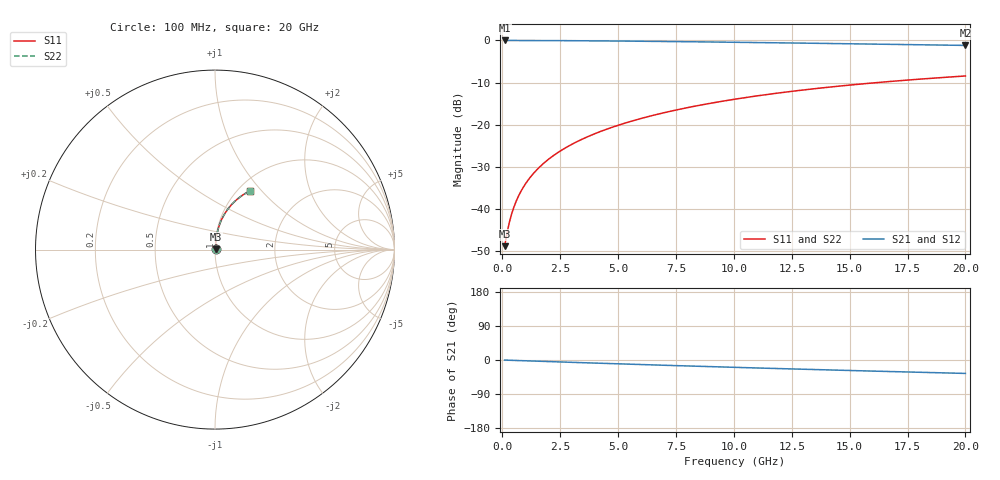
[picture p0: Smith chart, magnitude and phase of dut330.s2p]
! Touchstone file exported from HFSS 2024.1.0
!  File:  C:/UserFiles/LocalFiles/RDL_TSV_Batchsim/temp_RDL_bottom_330_1779611437.aedt
!  Generated:  04:33:16 PM May 24, 2026
!  Design:  RDL_bottom
!  Project:  temp_RDL_bottom_330_1779611437
!  Setup:  Setup1
!  Solution:  Sweep
! Variables:
!  dtsv = 10.80580581um
!  hbump = 3um
!  htsv = 93.72um
!  ldown = 442.29um
!  lrdl = 100um
!  p = 40
!  p1 = 54.79um
!  rhole = 1um
!  t = 450um
!  tdown = 2.96um
!  trdl = 3.915915916um
!  wdown = 18.99um
!  wrdl = 20um
# GHz S MA R 50.000000
! Terminal data exported
! Port[1] = RDL1_T1
! Port[2] = RDL1_T2
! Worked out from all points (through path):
!   200 points, 100 MHz to 20 GHz, reference 50 ohm
!   highest |S21| = -0.03 dB at 100 MHz (marker M1); lowest = -1.2 dB at 20 GHz (marker M2)
!   group delay of S21, straight-line fit = 4.9 ps
!   lowest |S11| = -48.8 dB at 100 MHz (marker M3), VSWR 1.01, Z = 50.3 + j0.208 ohm
!   |S11| at or under -10 dB: start of sweep to 16.2 GHz
!   |S22| runs from -48.8 to -8.4 dB; largest |S21 - S12| = 2.6e-15
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0.1  0.003638 34.6  0.997 -0.2  0.997 -0.2  0.003638 34.6
! Gamma 0 0 0 0
! Port Impedance 50 0 50 0
0.2  0.005127 53.1  0.9969 -0.4  0.9969 -0.4  0.005127 53.1
0.3  0.006878 62.4  0.9968 -0.6  0.9968 -0.6  0.006878 62.4
0.4  0.008703 67.7  0.9966 -0.8  0.9966 -0.8  0.008703 67.7
0.5  0.01055 71.1  0.9965 -1.1  0.9965 -1.1  0.01055 71.1
0.6  0.01241 73.5  0.9963 -1.3  0.9963 -1.3  0.01241 73.5
0.8  0.01614 76.7  0.9961 -1.7  0.9961 -1.7  0.01614 76.7
1.1  0.0218 79.5  0.9956 -2.3  0.9956 -2.3  0.0218 79.5
1.3  0.02559 80.6  0.9953 -2.7  0.9953 -2.7  0.02559 80.6
1.6  0.03133 81.7  0.9947 -3.3  0.9947 -3.3  0.03133 81.7
2.1  0.04097 82.8  0.9935 -4.3  0.9935 -4.3  0.04097 82.8
2.7  0.05266 83.2  0.9917 -5.6  0.9917 -5.6  0.05266 83.2
3.5  0.06842 83.2  0.9887 -7.2  0.9887 -7.2  0.06842 83.2
4.2  0.08237 82.9  0.9856 -8.5  0.9856 -8.5  0.08237 82.9
5  0.09846 82.2  0.9816 -10.1  0.9816 -10.1  0.09846 82.2
5.9  0.1167 81.3  0.9766 -11.8  0.9766 -11.8  0.1167 81.3
6.8  0.1351 80.2  0.9711 -13.5  0.9711 -13.5  0.1351 80.2
8.4  0.1676 77.9  0.9606 -16.5  0.9606 -16.5  0.1677 77.9
10.1  0.2019 75.3  0.9486 -19.5  0.9486 -19.5  0.2019 75.3
13.4  0.2657 69.9  0.9238 -25.1  0.9238 -25.1  0.2658 69.9
16.7  0.3248 64.6  0.8976 -30.4  0.8976 -30.4  0.3248 64.6
20  0.3782 59.4  0.8709 -35.4  0.8709 -35.4  0.3782 59.4
